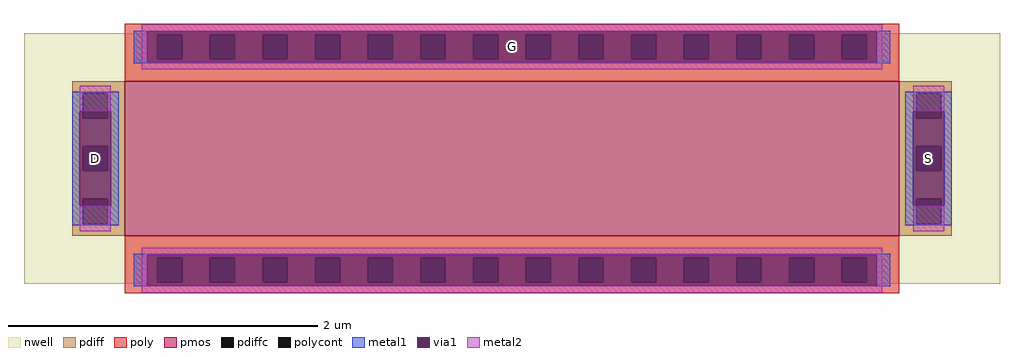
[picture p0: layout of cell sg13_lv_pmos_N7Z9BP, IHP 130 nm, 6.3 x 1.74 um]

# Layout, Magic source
magic
tech ihp-sg13g2
magscale 1 2
<< nwell >>
rect -630 -162 630 162
<< pmos >>
rect -500 -100 500 100
<< pdiff >>
rect -568 84 -500 100
rect -568 52 -554 84
rect -522 52 -500 84
rect -568 16 -500 52
rect -568 -16 -554 16
rect -522 -16 -500 16
rect -568 -52 -500 -16
rect -568 -84 -554 -52
rect -522 -84 -500 -52
rect -568 -100 -500 -84
rect 500 84 568 100
rect 500 52 522 84
rect 554 52 568 84
rect 500 16 568 52
rect 500 -16 522 16
rect 554 -16 568 16
rect 500 -52 568 -16
rect 500 -84 522 -52
rect 554 -84 568 -52
rect 500 -100 568 -84
<< pdiffc >>
rect -554 52 -522 84
rect -554 -16 -522 16
rect -554 -84 -522 -52
rect 522 52 554 84
rect 522 -16 554 16
rect 522 -84 554 -52
<< poly >>
rect -500 160 500 174
rect -500 128 -458 160
rect -426 128 -390 160
rect -358 128 -322 160
rect -290 128 -254 160
rect -222 128 -186 160
rect -154 128 -118 160
rect -86 128 -50 160
rect -18 128 18 160
rect 50 128 86 160
rect 118 128 154 160
rect 186 128 222 160
rect 254 128 290 160
rect 322 128 358 160
rect 390 128 426 160
rect 458 128 500 160
rect -500 100 500 128
rect -500 -128 500 -100
rect -500 -160 -458 -128
rect -426 -160 -390 -128
rect -358 -160 -322 -128
rect -290 -160 -254 -128
rect -222 -160 -186 -128
rect -154 -160 -118 -128
rect -86 -160 -50 -128
rect -18 -160 18 -128
rect 50 -160 86 -128
rect 118 -160 154 -128
rect 186 -160 222 -128
rect 254 -160 290 -128
rect 322 -160 358 -128
rect 390 -160 426 -128
rect 458 -160 500 -128
rect -500 -174 500 -160
<< polycont >>
rect -458 128 -426 160
rect -390 128 -358 160
rect -322 128 -290 160
rect -254 128 -222 160
rect -186 128 -154 160
rect -118 128 -86 160
rect -50 128 -18 160
rect 18 128 50 160
rect 86 128 118 160
rect 154 128 186 160
rect 222 128 254 160
rect 290 128 322 160
rect 358 128 390 160
rect 426 128 458 160
rect -458 -160 -426 -128
rect -390 -160 -358 -128
rect -322 -160 -290 -128
rect -254 -160 -222 -128
rect -186 -160 -154 -128
rect -118 -160 -86 -128
rect -50 -160 -18 -128
rect 18 -160 50 -128
rect 86 -160 118 -128
rect 154 -160 186 -128
rect 222 -160 254 -128
rect 290 -160 322 -128
rect 358 -160 390 -128
rect 426 -160 458 -128
<< metal1 >>
rect -488 164 488 165
rect -488 124 -471 164
rect 471 124 488 164
rect -488 123 488 124
rect -568 84 -508 86
rect -568 61 -554 84
rect -522 61 -508 84
rect -568 -61 -558 61
rect -518 -61 -508 61
rect -568 -84 -554 -61
rect -522 -84 -508 -61
rect -568 -86 -508 -84
rect 508 84 568 86
rect 508 61 522 84
rect 554 61 568 84
rect 508 -61 518 61
rect 558 -61 568 61
rect 508 -84 522 -61
rect 554 -84 568 -61
rect 508 -86 568 -84
rect -488 -124 488 -123
rect -488 -164 -471 -124
rect 471 -164 488 -124
rect -488 -165 488 -164
<< via1 >>
rect -471 160 471 164
rect -471 128 -458 160
rect -458 128 -426 160
rect -426 128 -390 160
rect -390 128 -358 160
rect -358 128 -322 160
rect -322 128 -290 160
rect -290 128 -254 160
rect -254 128 -222 160
rect -222 128 -186 160
rect -186 128 -154 160
rect -154 128 -118 160
rect -118 128 -86 160
rect -86 128 -50 160
rect -50 128 -18 160
rect -18 128 18 160
rect 18 128 50 160
rect 50 128 86 160
rect 86 128 118 160
rect 118 128 154 160
rect 154 128 186 160
rect 186 128 222 160
rect 222 128 254 160
rect 254 128 290 160
rect 290 128 322 160
rect 322 128 358 160
rect 358 128 390 160
rect 390 128 426 160
rect 426 128 458 160
rect 458 128 471 160
rect -471 124 471 128
rect -558 52 -554 61
rect -554 52 -522 61
rect -522 52 -518 61
rect -558 16 -518 52
rect -558 -16 -554 16
rect -554 -16 -522 16
rect -522 -16 -518 16
rect -558 -52 -518 -16
rect -558 -61 -554 -52
rect -554 -61 -522 -52
rect -522 -61 -518 -52
rect 518 52 522 61
rect 522 52 554 61
rect 554 52 558 61
rect 518 16 558 52
rect 518 -16 522 16
rect 522 -16 554 16
rect 554 -16 558 16
rect 518 -52 558 -16
rect 518 -61 522 -52
rect 522 -61 554 -52
rect 554 -61 558 -52
rect -471 -128 471 -124
rect -471 -160 -458 -128
rect -458 -160 -426 -128
rect -426 -160 -390 -128
rect -390 -160 -358 -128
rect -358 -160 -322 -128
rect -322 -160 -290 -128
rect -290 -160 -254 -128
rect -254 -160 -222 -128
rect -222 -160 -186 -128
rect -186 -160 -154 -128
rect -154 -160 -118 -128
rect -118 -160 -86 -128
rect -86 -160 -50 -128
rect -50 -160 -18 -128
rect -18 -160 18 -128
rect 18 -160 50 -128
rect 50 -160 86 -128
rect 86 -160 118 -128
rect 118 -160 154 -128
rect 154 -160 186 -128
rect 186 -160 222 -128
rect 222 -160 254 -128
rect 254 -160 290 -128
rect 290 -160 322 -128
rect 322 -160 358 -128
rect 358 -160 390 -128
rect 390 -160 426 -128
rect 426 -160 458 -128
rect 458 -160 471 -128
rect -471 -164 471 -160
<< metal2 >>
rect -478 164 478 173
rect -478 124 -471 164
rect 471 124 478 164
rect -478 115 478 124
rect -558 61 -518 94
rect -558 -94 -518 -61
rect 518 61 558 94
rect 518 -94 558 -61
rect -478 -124 478 -115
rect -478 -164 -471 -124
rect 471 -164 478 -124
rect -478 -173 478 -164
<< labels >>
rlabel metal1 s -538 0 -538 0 4 D
rlabel metal1 s 538 0 538 0 4 S
rlabel metal1 s 0 144 0 144 4 G
<< end >>
